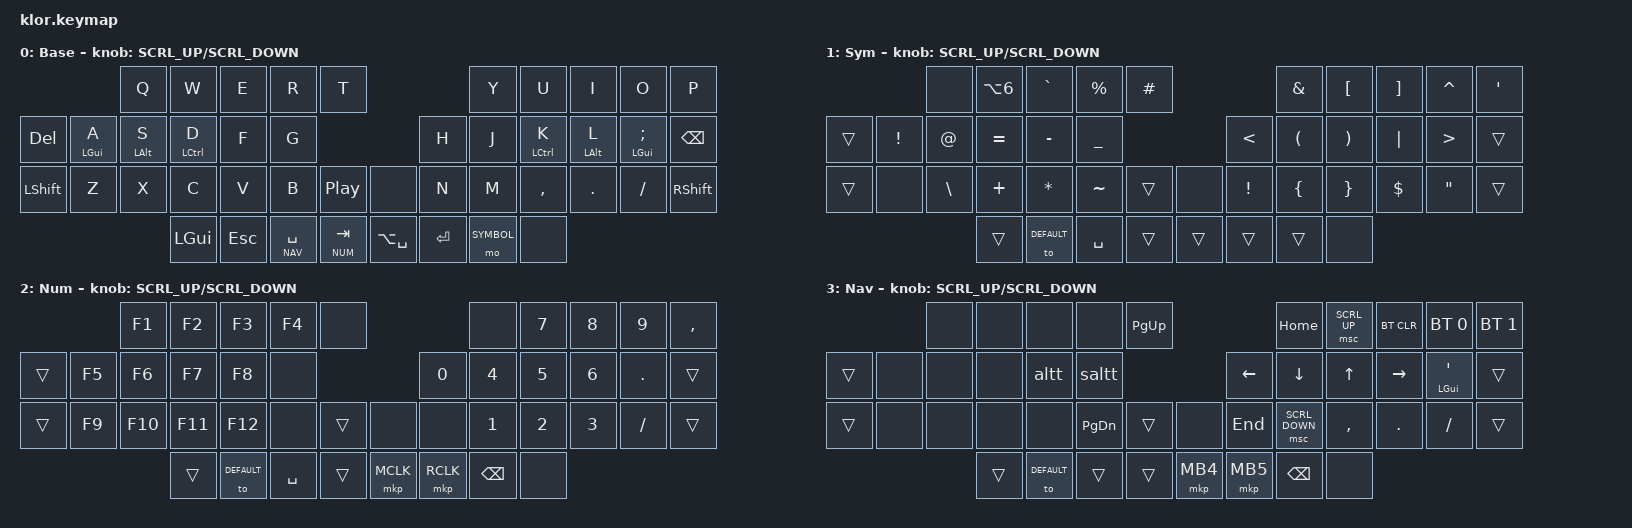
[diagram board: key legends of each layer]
/*
 * KLOR polydactyl — Keymap
 *
 * Uebernommen aus der Skeletyl-Konfiguration (3x5 + 3 Daumen pro Haelfte).
 * Das polydactyl-Layout hat pro Haelfte 22 Positionen; bewusst unbelegt bleiben:
 *
 *   - die aeussere Zusatzspalte (2 Tasten pro Haelfte)
 *   - die aeusserste Daumentaste, die unter der Handflaeche liegt
 *   - rechts die Encoder-Position (dort sitzt das Trackpad)
 *
 * Damit ergeben sich 36 belegte Tasten, identisch zum Skeletyl,
 * plus den Encoder-Taster links.
 */

#include <behaviors.dtsi>
#include <dt-bindings/zmk/keys.h>
#include <dt-bindings/zmk/bt.h>
#include <dt-bindings/zmk/outputs.h>
#include <dt-bindings/zmk/pointing.h>

#define DEFAULT 0
#define SYMBOL  1
#define NUM     2
#define NAV     3

/*
 * Positionsindizes des KLOR-Transforms
 *
 *   Zeile 1:  0  1  2  3  4   |   5  6  7  8  9
 *   Zeile 2: 10 11 12 13 14 15 |  16 17 18 19 20 21
 *   Zeile 3: 22 23 24 25 26 27 | 28 29 | 30 31 32 33 34 35
 *   Daumen:  36 37 38 39       |  40 41 42 43
 *
 * Unbelegt: 10, 21, 22, 35 (Zusatzspalte), 29 (Trackpad), 36, 43 (Daumen).
 * Belegt mit Encoder-Taster: 28.
 */

#define KEYS_L  0  1  2  3  4 10 11 12 13 14 15 22 23 24 25 26 27 28 36 37 38 39
#define KEYS_R  5  6  7  8  9 16 17 18 19 20 21 29 30 31 32 33 34 35 40 41 42 43

/ {
    behaviors {
        hml: homerow_mods_left_no_delay {
            compatible = "zmk,behavior-hold-tap";
            flavor = "balanced";
            tapping-term-ms = <280>;
            #binding-cells = <2>;
            quick-tap-ms = <175>;                // repeat on tap-into-hold
            require-prior-idle-ms = <150>;
            bindings = <&kp>, <&kp>;
            hold-trigger-key-positions = <KEYS_R>;
            hold-trigger-on-release;             // delay positional check until key-release
        };
        hmr: homerow_mods_right_no_delay {
            compatible = "zmk,behavior-hold-tap";
            flavor = "balanced";
            tapping-term-ms = <280>;
            #binding-cells = <2>;
            require-prior-idle-ms = <150>;
            quick-tap-ms = <175>;                // repeat on tap-into-hold
            bindings = <&kp>, <&kp>;
            hold-trigger-key-positions = <KEYS_L>;
            hold-trigger-on-release;             // delay positional check until key-release
        };
        /*
         * Encoder-Scrollen. ZMK liefert nur inc_dec_kp fuer Tastendruecke;
         * fuer das Mausrad wird sensor-rotate-var mit &msc kombiniert.
         * &msc ist eine kontinuierliche Bewegung — tap-ms bestimmt also,
         * wie weit eine Raste scrollt. Notfalls hier nachjustieren.
         */
        inc_dec_msc: enc_mouse_scroll {
            compatible = "zmk,behavior-sensor-rotate-var";
            #sensor-binding-cells = <2>;
            bindings = <&msc>, <&msc>;
            tap-ms = <30>;
        };
        sd: shift_dance {
            compatible = "zmk,behavior-tap-dance";
            #binding-cells = <0>;
            tapping-term-ms = <200>;
            bindings = <&kp LSHIFT>, <&kp CAPS>;
        };
    };

    combos {
        compatible = "zmk,combos";
    };

    macros {
        altt: altt {
            compatible = "zmk,behavior-macro";
            wait-ms = <0>;
            tap-ms = <0>;
            #binding-cells = <0>;
            bindings
                = <&macro_press &kp LGUI>
                , <&macro_tap &kp TAB>
                , <&macro_release &kp LGUI>
                ;
        };
        saltt: saltt {
            compatible = "zmk,behavior-macro";
            wait-ms = <0>;
            tap-ms = <0>;
            #binding-cells = <0>;
            bindings
                = <&macro_press &kp LGUI>
                , <&macro_press &kp RSHIFT>
                , <&macro_tap &kp TAB>
                , <&macro_release &kp RSHIFT>
                , <&macro_release &kp LGUI>
                ;
        };
        tevil: tevil {
            compatible = "zmk,behavior-macro";
            wait-ms = <0>;
            tap-ms = <0>;
            #binding-cells = <0>;
            bindings
                = <&macro_tap &kp SPACE>
                , <&macro_tap &kp BSPC>
                ;
        };
    };

    keymap {
        compatible = "zmk,keymap";

        default_layer {
            display-name = "Base";
/*
 *        ┌───────┬───────┬───────┬───────┬───────┐         ┌───────┬───────┬───────┬───────┬───────┐
 *        │   Q   │   W   │   E   │   R   │   T   │         │   Y   │   U   │   I   │   O   │   P   │
 * ┌──────┼───────┼───────┼───────┼───────┼───────┤         ├───────┼───────┼───────┼───────┼───────┼──────┐
 * │ DEL  │   A   │   S   │   D   │   F   │   G   │         │   H   │   J   │   K   │   L   │   ;   │ BSPC │
 * ├──────┼───────┼───────┼───────┼───────┼───────┼────┬────┼───────┼───────┼───────┼───────┼───────┼──────┤
 * │ SHFT │   Z   │   X   │   C   │   V   │   B   │ENC │ TP │   N   │   M   │   ,   │   .   │   /   │ SHFT │
 * └──────┴───────┴───────┴───┬───┴───┬───┴───┬───┴────┴────┴───┬───┴───┬───┴───┬───┴───────┴───────┴──────┘
 *                        │⌘ ││ ESC   │ SPACE │  TAB  │ │ ⌥SPC  │ RET   │ SYM   ││--│
 *                        └──┘└───────┴───────┴───────┘ └───────┴───────┴───────┘└──┘
 */
            bindings = <
                          &kp Q         &kp W        &kp E          &kp R         &kp T                              &kp Y        &kp U           &kp I          &kp O         &kp P
    &kp DEL    &hml LGUI A  &hml LALT S  &hml LCTRL D   &kp F         &kp G                              &kp H        &kp J           &hmr LCTRL K   &hmr LALT L   &hmr LGUI SEMI   &kp BSPC
    &kp LSHIFT     &kp Z         &kp X        &kp C          &kp V         &kp B         &kp C_PP     &none   &kp N        &kp M           &kp COMMA      &kp DOT       &kp FSLH         &kp RSHIFT
                                         &kp LGUI       &kp ESC       &lt NAV SPACE &lt NUM TAB  &kp LA(SPACE) &kp RET        &mo SYMBOL      &none
            >;

            sensor-bindings = <&inc_dec_msc SCRL_UP SCRL_DOWN>;
        };

        symbol_layer {
            display-name = "Sym";
            /* &kp LA(N6) ist das Paragraphzeichen — Option+6 auf macOS mit
             * US-Layout. Bei einem Wechsel des Host-Layouts stimmt das nicht
             * mehr, unter Deutsch waere es LS(N3). */
            bindings = <
                          &none         &kp LA(N6)   &kp GRAVE      &kp PRCNT     &kp HASH                           &kp AMPS     &kp LBKT        &kp RBKT       &kp CARET     &kp SQT
    &trans     &kp EXCL      &kp AT       &kp EQUAL      &kp MINUS     &kp UNDER                          &kp LT       &kp LPAR        &kp RPAR       &kp PIPE      &kp GT           &trans
    &trans     &none         &kp BSLH     &kp PLUS       &kp STAR      &kp TILDE     &trans       &none   &kp EXCL     &kp LBRC        &kp RBRC       &kp DLLR      &kp DQT          &trans
                                         &trans          &to DEFAULT   &kp SPACE     &trans       &trans  &trans       &trans          &none
            >;

            sensor-bindings = <&inc_dec_msc SCRL_UP SCRL_DOWN>;
        };

        num_layer {
            display-name = "Num";
            bindings = <
                          &kp F1        &kp F2       &kp F3         &kp F4        &none                              &none        &kp N7          &kp N8         &kp N9        &kp COMMA
    &trans     &kp F5        &kp F6       &kp F7         &kp F8        &none                              &kp N0       &kp N4          &kp N5         &kp N6        &kp DOT          &trans
    &trans     &kp F9        &kp F10      &kp F11        &kp F12       &none         &trans       &none   &none        &kp N1          &kp N2         &kp N3        &kp FSLH         &trans
                                         &trans          &to DEFAULT   &kp SPACE     &trans       &mkp MCLK &mkp RCLK  &kp BSPC        &none
            >;

            sensor-bindings = <&inc_dec_msc SCRL_UP SCRL_DOWN>;
        };

        nav_layer {
            display-name = "Nav";
            bindings = <
                          &none         &none        &none          &none         &kp PG_UP                          &kp HOME      &msc SCRL_UP    &bt BT_CLR     &bt BT_SEL 0  &bt BT_SEL 1
    &trans     &none         &none        &none          &altt         &saltt                             &kp LEFT     &kp DOWN        &kp UP         &kp RIGHT     &hmr LGUI SQT    &trans
    &trans     &none         &none        &none          &none         &kp PG_DN     &trans       &none   &kp END       &msc SCRL_DOWN  &kp COMMA      &kp DOT       &kp FSLH         &trans
                                         &trans          &to DEFAULT   &trans        &trans       &mkp MB4 &mkp MB5    &kp BSPC        &none
            >;

            sensor-bindings = <&inc_dec_msc SCRL_UP SCRL_DOWN>;
        };
    };
};
